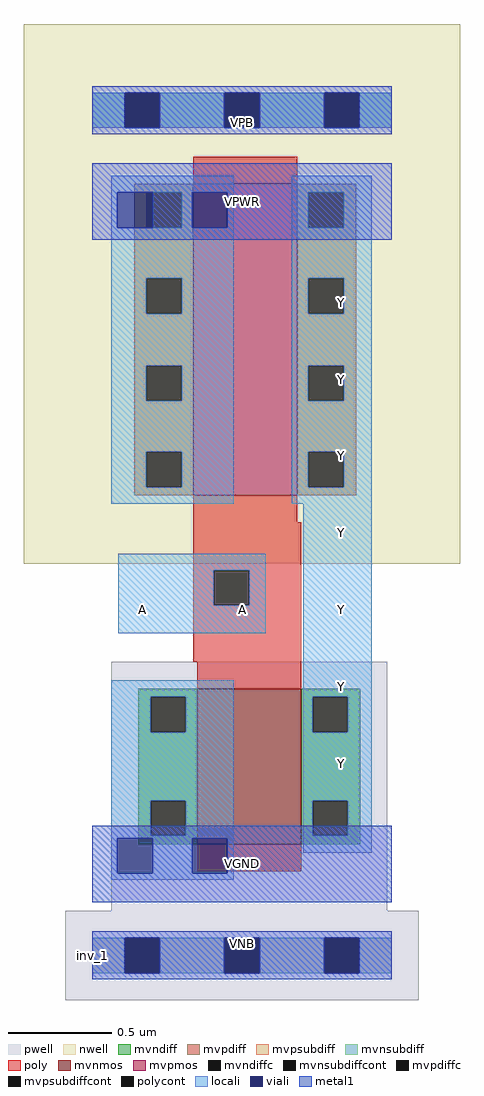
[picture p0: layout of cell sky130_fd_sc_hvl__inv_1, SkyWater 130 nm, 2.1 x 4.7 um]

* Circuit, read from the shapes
.subckt sky130_fd_sc_hvl__inv_1 A VGND VNB VPB VPWR Y
XM1 Y A VGND VNB sky130_fd_pr__nfet_g5v0d10v5 w=0.75 l=0.5
XM2 Y A VPWR VPB sky130_fd_pr__pfet_g5v0d10v5 w=1.5 l=0.5
.ends

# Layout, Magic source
magic
tech sky130A
magscale 1 2
<< nwell >>
rect -66 377 354 897
<< pwell >>
rect 18 43 284 283
rect -26 -43 314 43
<< mvnmos >>
rect 101 107 201 257
<< mvpmos >>
rect 97 443 197 743
<< mvndiff >>
rect 44 249 101 257
rect 44 215 56 249
rect 90 215 101 249
rect 44 149 101 215
rect 44 115 56 149
rect 90 115 101 149
rect 44 107 101 115
rect 201 249 258 257
rect 201 215 212 249
rect 246 215 258 249
rect 201 149 258 215
rect 201 115 212 149
rect 246 115 258 149
rect 201 107 258 115
<< mvpdiff >>
rect 40 735 97 743
rect 40 701 52 735
rect 86 701 97 735
rect 40 652 97 701
rect 40 618 52 652
rect 86 618 97 652
rect 40 568 97 618
rect 40 534 52 568
rect 86 534 97 568
rect 40 485 97 534
rect 40 451 52 485
rect 86 451 97 485
rect 40 443 97 451
rect 197 735 254 743
rect 197 701 208 735
rect 242 701 254 735
rect 197 652 254 701
rect 197 618 208 652
rect 242 618 254 652
rect 197 568 254 618
rect 197 534 208 568
rect 242 534 254 568
rect 197 485 254 534
rect 197 451 208 485
rect 242 451 254 485
rect 197 443 254 451
<< mvndiffc >>
rect 56 215 90 249
rect 56 115 90 149
rect 212 215 246 249
rect 212 115 246 149
<< mvpdiffc >>
rect 52 701 86 735
rect 52 618 86 652
rect 52 534 86 568
rect 52 451 86 485
rect 208 701 242 735
rect 208 618 242 652
rect 208 534 242 568
rect 208 451 242 485
<< mvpsubdiff >>
rect 0 -17 31 17
rect 65 -17 127 17
rect 161 -17 223 17
rect 257 -17 288 17
<< mvnsubdiff >>
rect 0 797 31 831
rect 65 797 127 831
rect 161 797 223 831
rect 257 797 288 831
<< mvpsubdiffcont >>
rect 31 -17 65 17
rect 127 -17 161 17
rect 223 -17 257 17
<< mvnsubdiffcont >>
rect 31 797 65 831
rect 127 797 161 831
rect 223 797 257 831
<< poly >>
rect 97 743 197 769
rect 97 417 197 443
rect 97 371 201 417
rect 97 337 117 371
rect 151 337 201 371
rect 97 283 201 337
rect 101 257 201 283
rect 101 81 201 107
<< polycont >>
rect 117 337 151 371
<< locali >>
rect 0 797 31 831
rect 65 797 127 831
rect 161 797 223 831
rect 257 797 288 831
rect 18 735 136 751
rect 18 701 24 735
rect 86 701 96 735
rect 130 701 136 735
rect 18 652 136 701
rect 18 618 52 652
rect 86 618 136 652
rect 18 568 136 618
rect 18 534 52 568
rect 86 534 136 568
rect 18 485 136 534
rect 18 451 52 485
rect 86 451 136 485
rect 18 435 136 451
rect 192 735 269 751
rect 192 701 208 735
rect 242 701 269 735
rect 192 652 269 701
rect 192 618 208 652
rect 242 618 269 652
rect 192 568 269 618
rect 192 534 208 568
rect 242 534 269 568
rect 192 485 269 534
rect 192 451 208 485
rect 242 451 269 485
rect 192 435 269 451
rect 25 371 167 387
rect 25 337 117 371
rect 151 337 167 371
rect 25 310 167 337
rect 18 249 136 265
rect 18 215 56 249
rect 90 215 136 249
rect 18 149 136 215
rect 18 115 56 149
rect 90 115 136 149
rect 18 113 136 115
rect 18 79 24 113
rect 58 79 96 113
rect 130 79 136 113
rect 203 249 269 435
rect 203 215 212 249
rect 246 215 269 249
rect 203 149 269 215
rect 203 115 212 149
rect 246 115 269 149
rect 203 99 269 115
rect 18 73 136 79
rect 0 -17 31 17
rect 65 -17 127 17
rect 161 -17 223 17
rect 257 -17 288 17
<< viali >>
rect 31 797 65 831
rect 127 797 161 831
rect 223 797 257 831
rect 24 701 52 735
rect 52 701 58 735
rect 96 701 130 735
rect 24 79 58 113
rect 96 79 130 113
rect 31 -17 65 17
rect 127 -17 161 17
rect 223 -17 257 17
<< metal1 >>
rect 0 831 288 837
rect 0 797 31 831
rect 65 797 127 831
rect 161 797 223 831
rect 257 797 288 831
rect 0 791 288 797
rect 0 735 288 763
rect 0 701 24 735
rect 58 701 96 735
rect 130 701 288 735
rect 0 689 288 701
rect 0 113 288 125
rect 0 79 24 113
rect 58 79 96 113
rect 130 79 288 113
rect 0 51 288 79
rect 0 17 288 23
rect 0 -17 31 17
rect 65 -17 127 17
rect 161 -17 223 17
rect 257 -17 288 17
rect 0 -23 288 -17
<< labels >>
rlabel comment s 0 0 0 0 4 inv_1
flabel metal1 s 0 51 288 125 0 FreeSans 340 0 0 0 VGND
port 2 nsew ground bidirectional
flabel metal1 s 0 0 288 23 0 FreeSans 340 0 0 0 VNB
port 3 nsew ground bidirectional
flabel metal1 s 0 689 288 763 0 FreeSans 340 0 0 0 VPWR
port 5 nsew power bidirectional
flabel metal1 s 0 791 288 814 0 FreeSans 340 0 0 0 VPB
port 4 nsew power bidirectional
flabel locali s 31 316 65 350 0 FreeSans 340 0 0 0 A
port 1 nsew signal input
flabel locali s 127 316 161 350 0 FreeSans 340 0 0 0 A
port 1 nsew signal input
flabel locali s 223 168 257 202 0 FreeSans 340 0 0 0 Y
port 6 nsew signal output
flabel locali s 223 242 257 276 0 FreeSans 340 0 0 0 Y
port 6 nsew signal output
flabel locali s 223 316 257 350 0 FreeSans 340 0 0 0 Y
port 6 nsew signal output
flabel locali s 223 390 257 424 0 FreeSans 340 0 0 0 Y
port 6 nsew signal output
flabel locali s 223 464 257 498 0 FreeSans 340 0 0 0 Y
port 6 nsew signal output
flabel locali s 223 538 257 572 0 FreeSans 340 0 0 0 Y
port 6 nsew signal output
flabel locali s 223 612 257 646 0 FreeSans 340 0 0 0 Y
port 6 nsew signal output
<< properties >>
string FIXED_BBOX 0 0 288 814
string GDS_END 82612
string GDS_FILE $PDKPATH/libs.ref/sky130_fd_sc_hvl/gds/sky130_fd_sc_hvl.gds
string GDS_START 76906
string LEFclass CORE
string LEFsite unithv
string LEFsymmetry X Y
<< end >>
